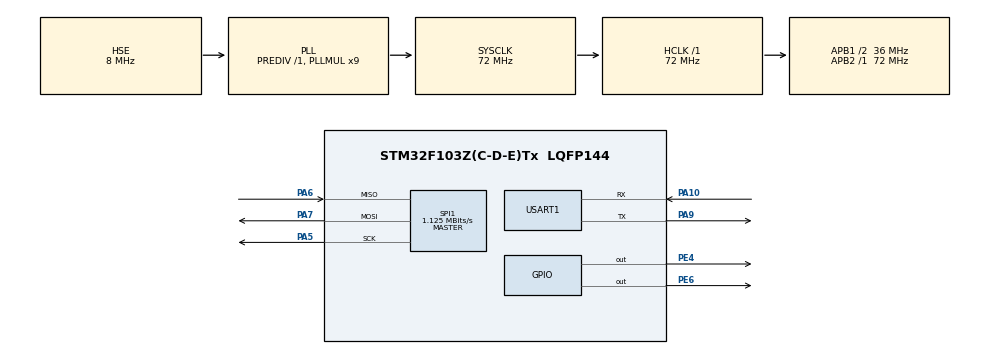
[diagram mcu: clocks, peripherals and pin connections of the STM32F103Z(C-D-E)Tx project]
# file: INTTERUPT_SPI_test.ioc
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Dma.Request0=SPI1_RX
Dma.Request1=SPI1_TX
Dma.SPI1_RX.0.Direction=DMA_PERIPH_TO_MEMORY
Dma.SPI1_RX.0.Instance=DMA1_Channel2
Dma.SPI1_RX.0.MemDataAlignment=DMA_MDATAALIGN_BYTE
Dma.SPI1_RX.0.MemInc=DMA_MINC_ENABLE
Dma.SPI1_RX.0.Mode=DMA_NORMAL
Dma.SPI1_RX.0.PeriphDataAlignment=DMA_PDATAALIGN_BYTE
Dma.SPI1_RX.0.PeriphInc=DMA_PINC_DISABLE
Dma.SPI1_RX.0.Priority=DMA_PRIORITY_LOW
Dma.SPI1_TX.1.Direction=DMA_MEMORY_TO_PERIPH
Dma.SPI1_TX.1.Instance=DMA1_Channel3
Dma.SPI1_TX.1.MemDataAlignment=DMA_MDATAALIGN_BYTE
Dma.SPI1_TX.1.MemInc=DMA_MINC_ENABLE
Dma.SPI1_TX.1.Mode=DMA_NORMAL
Dma.SPI1_TX.1.PeriphDataAlignment=DMA_PDATAALIGN_BYTE
Dma.SPI1_TX.1.PeriphInc=DMA_PINC_DISABLE
Dma.SPI1_TX.1.Priority=DMA_PRIORITY_LOW
Mcu.Family=STM32F1
Mcu.Name=STM32F103Z(C-D-E)Tx
Mcu.Package=LQFP144
NVIC.DMA1_Channel2_IRQn=true\:0\:0\:false\:false\:true\:false\:true\:true
NVIC.DMA1_Channel3_IRQn=true\:0\:0\:false\:false\:true\:false\:true\:true
NVIC.PriorityGroup=NVIC_PRIORITYGROUP_4
NVIC.SPI1_IRQn=true\:0\:0\:false\:false\:true\:true\:true\:true
OSC_IN.Mode=HSE-External-Oscillator
OSC_IN.Signal=RCC_OSC_IN
OSC_OUT.Mode=HSE-External-Oscillator
OSC_OUT.Signal=RCC_OSC_OUT
PA10.Mode=Asynchronous
PA10.Signal=USART1_RX
PA13.Mode=Serial_Wire
PA13.Signal=SYS_JTMS-SWDIO
PA14.Mode=Serial_Wire
PA14.Signal=SYS_JTCK-SWCLK
PA5.Mode=Full_Duplex_Master
PA5.Signal=SPI1_SCK
PA6.Mode=Full_Duplex_Master
PA6.Signal=SPI1_MISO
PA7.Mode=Full_Duplex_Master
PA7.Signal=SPI1_MOSI
PA9.Mode=Asynchronous
PA9.Signal=USART1_TX
PE4.PinState=GPIO_PIN_SET
PE4.Signal=GPIO_Output
PE6.PinState=GPIO_PIN_SET
PE6.Signal=GPIO_Output
ProjectManager.HeapSize=0x200
ProjectManager.StackSize=0x400
ProjectManager.TargetToolchain=MDK-ARM V5.32
RCC.AHBFreq_Value=72000000
RCC.APB1CLKDivider=RCC_HCLK_DIV2
RCC.APB1Freq_Value=36000000
RCC.APB1TimFreq_Value=72000000
RCC.APB2Freq_Value=72000000
RCC.APB2TimFreq_Value=72000000
RCC.HCLKFreq_Value=72000000
RCC.PLLMUL=RCC_PLL_MUL9
RCC.PLLSourceVirtual=RCC_PLLSOURCE_HSE
RCC.SYSCLKFreq_VALUE=72000000
RCC.SYSCLKSource=RCC_SYSCLKSOURCE_PLLCLK
RCC.USBFreq_Value=72000000
SPI1.BaudRatePrescaler=SPI_BAUDRATEPRESCALER_64
SPI1.CalculateBaudRate=1.125 MBits/s
SPI1.Direction=SPI_DIRECTION_2LINES
SPI1.Mode=SPI_MODE_MASTER
SPI1.VirtualType=VM_MASTER
USART1.Parity=PARITY_ODD
USART1.VirtualMode=VM_ASYNC
USART1.WordLength=WORDLENGTH_9B
board=custom

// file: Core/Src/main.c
/* USER CODE BEGIN Header */
/**
  ******************************************************************************
  * @file           : main.c
  * @brief          : Main program body
  ******************************************************************************
  * @attention
  *
  * Copyright (c) 2026 STMicroelectronics.
  * All rights reserved.
  *
  * This software is licensed under terms that can be found in the LICENSE file
  * in the root directory of this software component.
  * If no LICENSE file comes with this software, it is provided AS-IS.
  *
  ******************************************************************************
  */
/* USER CODE END Header */
#include "main.h"

/* USER CODE BEGIN Includes */
#include "BSP_Usart_Redir.h"
#include <stdbool.h>
/* USER CODE END Includes */

SPI_HandleTypeDef hspi1;
DMA_HandleTypeDef hdma_spi1_rx;
DMA_HandleTypeDef hdma_spi1_tx;

UART_HandleTypeDef huart1;

/* USER CODE BEGIN PV */
//V2
uint8_t cmd = 0x9F;
uint8_t rx_buffer[3] = {0x00,0x00,0x00};
volatile bool is_JEDEC_ready =false;
volatile uint32_t id = 0;

//V1
// uint8_t tx_buffer[4] = {0x9F,0x00,0x00,0x00};
// uint8_t rx_buffer[4] = {0x00};
// volatile uint32_t id = 0;
// volatile bool is_JEDEC_ready = false;

/* USER CODE END PV */

void SystemClock_Config(void);
static void MX_GPIO_Init(void);
static void MX_DMA_Init(void);
static void MX_SPI1_Init(void);
static void MX_USART1_UART_Init(void);
/* USER CODE BEGIN PFP */
void W25Qxx_CS_Enable(void);
void W25Qxx_CS_Disable(void);
// void W25Qxx_ReadID_IT(void);
void W25Qxx_ReadID_IT_v2(void);

/* USER CODE END PFP */

int main(void)
{

  /* MCU Configuration--------------------------------------------------------*/

  /* Reset of all peripherals, Initializes the Flash interface and the Systick. */
  HAL_Init();

  /* Configure the system clock */
  SystemClock_Config();

  /* Initialize all configured peripherals */
  MX_GPIO_Init();
  MX_DMA_Init();
  MX_SPI1_Init();
  MX_USART1_UART_Init();
  /* USER CODE BEGIN 2 */
  BSP_Usart_Init(&huart1);
  W25Qxx_ReadID_IT_v2();
  /* USER CODE END 2 */

  /* Infinite loop */
  /* USER CODE BEGIN WHILE */
  while (1)
  {

    if(is_JEDEC_ready)
    {
      printf("JEDEC ID: 0x%X\n",id);
      is_JEDEC_ready = false;
    }
    /* USER CODE END WHILE */

  }
}

void SystemClock_Config(void)
{
  RCC_OscInitTypeDef RCC_OscInitStruct = {0};
  RCC_ClkInitTypeDef RCC_ClkInitStruct = {0};

  /** Initializes the RCC Oscillators according to the specified parameters
  * in the RCC_OscInitTypeDef structure.
  */
  RCC_OscInitStruct.OscillatorType = RCC_OSCILLATORTYPE_HSE;
  RCC_OscInitStruct.HSEState = RCC_HSE_ON;
  RCC_OscInitStruct.HSEPredivValue = RCC_HSE_PREDIV_DIV1;
  RCC_OscInitStruct.HSIState = RCC_HSI_ON;
  RCC_OscInitStruct.PLL.PLLState = RCC_PLL_ON;
  RCC_OscInitStruct.PLL.PLLSource = RCC_PLLSOURCE_HSE;
  RCC_OscInitStruct.PLL.PLLMUL = RCC_PLL_MUL9;
  if (HAL_RCC_OscConfig(&RCC_OscInitStruct) != HAL_OK)
  {
    Error_Handler();
  }

  /** Initializes the CPU, AHB and APB buses clocks
  */
  RCC_ClkInitStruct.ClockType = RCC_CLOCKTYPE_HCLK|RCC_CLOCKTYPE_SYSCLK
                              |RCC_CLOCKTYPE_PCLK1|RCC_CLOCKTYPE_PCLK2;
  RCC_ClkInitStruct.SYSCLKSource = RCC_SYSCLKSOURCE_PLLCLK;
  RCC_ClkInitStruct.AHBCLKDivider = RCC_SYSCLK_DIV1;
  RCC_ClkInitStruct.APB1CLKDivider = RCC_HCLK_DIV2;
  RCC_ClkInitStruct.APB2CLKDivider = RCC_HCLK_DIV1;

  if (HAL_RCC_ClockConfig(&RCC_ClkInitStruct, FLASH_LATENCY_2) != HAL_OK)
  {
    Error_Handler();
  }
}

static void MX_SPI1_Init(void)
{

  /* SPI1 parameter configuration*/
  hspi1.Instance = SPI1;
  hspi1.Init.Mode = SPI_MODE_MASTER;
  hspi1.Init.Direction = SPI_DIRECTION_2LINES;
  hspi1.Init.DataSize = SPI_DATASIZE_8BIT;
  hspi1.Init.CLKPolarity = SPI_POLARITY_LOW;
  hspi1.Init.CLKPhase = SPI_PHASE_1EDGE;
  hspi1.Init.NSS = SPI_NSS_SOFT;
  hspi1.Init.BaudRatePrescaler = SPI_BAUDRATEPRESCALER_64;
  hspi1.Init.FirstBit = SPI_FIRSTBIT_MSB;
  hspi1.Init.TIMode = SPI_TIMODE_DISABLE;
  hspi1.Init.CRCCalculation = SPI_CRCCALCULATION_DISABLE;
  hspi1.Init.CRCPolynomial = 10;
  if (HAL_SPI_Init(&hspi1) != HAL_OK)
  {
    Error_Handler();
  }

}

static void MX_USART1_UART_Init(void)
{

  huart1.Instance = USART1;
  huart1.Init.BaudRate = 115200;
  huart1.Init.WordLength = UART_WORDLENGTH_9B;
  huart1.Init.StopBits = UART_STOPBITS_1;
  huart1.Init.Parity = UART_PARITY_ODD;
  huart1.Init.Mode = UART_MODE_TX_RX;
  huart1.Init.HwFlowCtl = UART_HWCONTROL_NONE;
  huart1.Init.OverSampling = UART_OVERSAMPLING_16;
  if (HAL_UART_Init(&huart1) != HAL_OK)
  {
    Error_Handler();
  }

}

static void MX_DMA_Init(void)
{

  /* DMA controller clock enable */
  __HAL_RCC_DMA1_CLK_ENABLE();

  /* DMA interrupt init */
  /* DMA1_Channel2_IRQn interrupt configuration */
  HAL_NVIC_SetPriority(DMA1_Channel2_IRQn, 0, 0);
  HAL_NVIC_EnableIRQ(DMA1_Channel2_IRQn);
  /* DMA1_Channel3_IRQn interrupt configuration */
  HAL_NVIC_SetPriority(DMA1_Channel3_IRQn, 0, 0);
  HAL_NVIC_EnableIRQ(DMA1_Channel3_IRQn);

}

static void MX_GPIO_Init(void)
{
  GPIO_InitTypeDef GPIO_InitStruct = {0};

  /* GPIO Ports Clock Enable */
  __HAL_RCC_GPIOE_CLK_ENABLE();
  __HAL_RCC_GPIOA_CLK_ENABLE();

  /*Configure GPIO pin Output Level */
  HAL_GPIO_WritePin(GPIOE, GPIO_PIN_4|GPIO_PIN_6, GPIO_PIN_SET);

  /*Configure GPIO pins : PE4 PE6 */
  GPIO_InitStruct.Pin = GPIO_PIN_4|GPIO_PIN_6;
  GPIO_InitStruct.Mode = GPIO_MODE_OUTPUT_PP;
  GPIO_InitStruct.Pull = GPIO_NOPULL;
  GPIO_InitStruct.Speed = GPIO_SPEED_FREQ_LOW;
  HAL_GPIO_Init(GPIOE, &GPIO_InitStruct);

}

/* USER CODE BEGIN 4 */
//v2
void W25Qxx_ReadID_IT_v2(void)
{
  W25Qxx_CS_Enable();
  HAL_StatusTypeDef state = HAL_SPI_Transmit_IT(&hspi1,&cmd,sizeof(cmd));
  if(state == HAL_OK)
  {
    printf("SPI ENABLE INTTERUPT TRAN SUCCESS\n");
  }
  else
  {
    W25Qxx_CS_Disable();
    printf("SPI ENABLE INTTERUPT TRAN_SREVE fail\n");
  }

}

void HAL_SPI_TxCpltCallback(SPI_HandleTypeDef *hspi)
{
  if(hspi == &hspi1)
  {
    HAL_StatusTypeDef state = HAL_SPI_Receive_IT(&hspi1,rx_buffer,sizeof(rx_buffer)/sizeof(rx_buffer[0]));
    if(state != HAL_OK)
    {
      W25Qxx_CS_Disable();
    }

  }
}

void HAL_SPI_RxCpltCallback(SPI_HandleTypeDef *hspi)
{
  if(hspi == &hspi1)
  {
    W25Qxx_CS_Disable();
    id = (rx_buffer[0] << 16) | (rx_buffer[1] << 8) | (rx_buffer[2]);
    is_JEDEC_ready = true;
  }

}

//v1
// void HAL_SPI_TxRxCpltCallback(SPI_HandleTypeDef *hspi)
// {
//   if(hspi == &hspi1)
//   {
//     W25Qxx_CS_Disable();
//     id = (rx_buffer[1] << 16) | (rx_buffer[2] << 8) | (rx_buffer[3]);
//     is_JEDEC_ready = true;
//   }
// }

// void W25Qxx_ReadID_IT(void)
// {
//   W25Qxx_CS_Enable();

//   HAL_StatusTypeDef state = HAL_SPI_TransmitReceive_IT(&hspi1,tx_buffer,rx_buffer,4);
//   if(state == HAL_OK)
//   {
//     printf("SPI ENABLE INTTERUPT TRAN_SREVE SUCCESS\n");
//   }
//   else
//   {
//     W25Qxx_CS_Disable();
//     printf("SPI ENABLE INTTERUPT TRAN_SREVE fail\n");
//   }
// }

void W25Qxx_CS_Enable(void)
{
  HAL_GPIO_WritePin(GPIOE,GPIO_PIN_6,GPIO_PIN_RESET);
}

void W25Qxx_CS_Disable(void)
{
  HAL_GPIO_WritePin(GPIOE,GPIO_PIN_6,GPIO_PIN_SET);
}

/* USER CODE END 4 */

void Error_Handler(void)
{
  __disable_irq();
  while (1)
  {
  }
}
